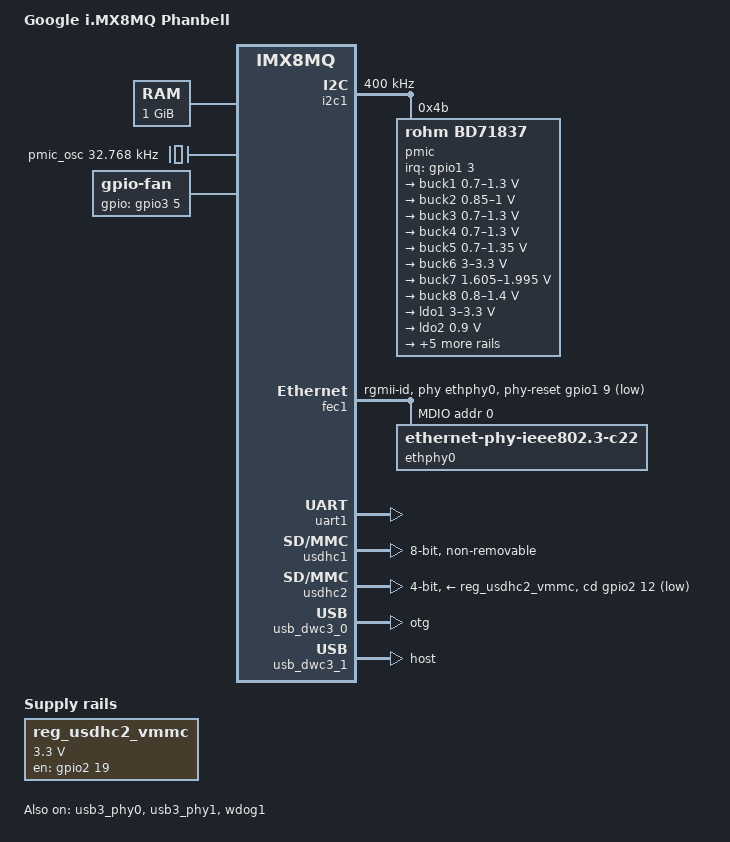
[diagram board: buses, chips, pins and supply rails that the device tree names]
// SPDX-License-Identifier: (GPL-2.0 OR MIT)
/*
 * Copyright 2017-2019 NXP
 */

/dts-v1/;

#include "imx8mq.dtsi"

/ {
	model = "Google i.MX8MQ Phanbell";
	compatible = "google,imx8mq-phanbell", "fsl,imx8mq";

	chosen {
		stdout-path = &uart1;
	};

	memory@40000000 {
		device_type = "memory";
		reg = <0x00000000 0x40000000 0 0x40000000>;
	};

	pmic_osc: clock-pmic {
		compatible = "fixed-clock";
		#clock-cells = <0>;
		clock-frequency = <32768>;
		clock-output-names = "pmic_osc";
	};

	reg_usdhc2_vmmc: regulator-usdhc2-vmmc {
		compatible = "regulator-fixed";
		regulator-name = "VSD_3V3";
		regulator-min-microvolt = <3300000>;
		regulator-max-microvolt = <3300000>;
		gpio = <&gpio2 19 GPIO_ACTIVE_HIGH>;
		enable-active-high;
	};

	fan: gpio-fan {
		compatible = "gpio-fan";
		gpio-fan,speed-map = <0 0 8600 1>;
		gpios = <&gpio3 5 GPIO_ACTIVE_HIGH>;
		#cooling-cells = <2>;
		pinctrl-names = "default";
		pinctrl-0 = <&pinctrl_gpio_fan>;
		status = "okay";
	};
};

&A53_0 {
	cpu-supply = <&buck2>;
};

&A53_1 {
	cpu-supply = <&buck2>;
};

&A53_2 {
	cpu-supply = <&buck2>;
};

&A53_3 {
	cpu-supply = <&buck2>;
};

&cpu_thermal {
	trips {
		cpu_alert0: trip0 {
			temperature = <75000>;
			hysteresis = <2000>;
			type = "passive";
		};

		cpu_alert1: trip1 {
			temperature = <80000>;
			hysteresis = <2000>;
			type = "passive";
		};

		cpu_crit0: trip3 {
			temperature = <90000>;
			hysteresis = <2000>;
			type = "critical";
		};

		fan_toggle0: trip4 {
			temperature = <65000>;
			hysteresis = <10000>;
			type = "active";
		};
	};

	cooling-maps {
		map0 {
			trip = <&cpu_alert0>;
			cooling-device =
			<&A53_0 0 1>; /* Exclude highest OPP */
		};

		map1 {
			trip = <&cpu_alert1>;
			cooling-device =
			<&A53_0 0 2>; /* Exclude two highest OPPs */
		};

		map4 {
			trip = <&fan_toggle0>;
			cooling-device = <&fan 0 1>;
		};
	};
};

&i2c1 {
	clock-frequency = <400000>;
	pinctrl-names = "default";
	pinctrl-0 = <&pinctrl_i2c1>;
	status = "okay";

	pmic: pmic@4b {
		compatible = "rohm,bd71837";
		reg = <0x4b>;
		pinctrl-names = "default";
		pinctrl-0 = <&pinctrl_pmic>;
		#clock-cells = <0>;
		clocks = <&pmic_osc>;
		clock-output-names = "pmic_clk";
		interrupt-parent = <&gpio1>;
		interrupts = <3 GPIO_ACTIVE_LOW>;

		regulators {
			buck1: BUCK1 {
				regulator-name = "buck1";
				regulator-min-microvolt = <700000>;
				regulator-max-microvolt = <1300000>;
				regulator-boot-on;
				regulator-always-on;
				regulator-ramp-delay = <1250>;
				rohm,dvs-run-voltage = <900000>;
				rohm,dvs-idle-voltage = <900000>;
				rohm,dvs-suspend-voltage = <800000>;
			};

			buck2: BUCK2 {
				regulator-name = "buck2";
				regulator-min-microvolt = <850000>;
				regulator-max-microvolt = <1000000>;
				regulator-boot-on;
				regulator-always-on;
				rohm,dvs-run-voltage = <1000000>;
				rohm,dvs-idle-voltage = <900000>;
			};

			buck3: BUCK3 {
				regulator-name = "buck3";
				regulator-min-microvolt = <700000>;
				regulator-max-microvolt = <1300000>;
				regulator-boot-on;
				rohm,dvs-run-voltage = <900000>;
			};

			buck4: BUCK4 {
				regulator-name = "buck4";
				regulator-min-microvolt = <700000>;
				regulator-max-microvolt = <1300000>;
				regulator-boot-on;
				regulator-always-on;
				rohm,dvs-run-voltage = <900000>;
			};

			buck5: BUCK5 {
				regulator-name = "buck5";
				regulator-min-microvolt = <700000>;
				regulator-max-microvolt = <1350000>;
				regulator-boot-on;
				regulator-always-on;
			};

			buck6: BUCK6 {
				regulator-name = "buck6";
				regulator-min-microvolt = <3000000>;
				regulator-max-microvolt = <3300000>;
				regulator-boot-on;
				regulator-always-on;
			};

			buck7: BUCK7 {
				regulator-name = "buck7";
				regulator-min-microvolt = <1605000>;
				regulator-max-microvolt = <1995000>;
				regulator-boot-on;
				regulator-always-on;
			};

			buck8: BUCK8 {
				regulator-name = "buck8";
				regulator-min-microvolt = <800000>;
				regulator-max-microvolt = <1400000>;
				regulator-boot-on;
				regulator-always-on;
			};

			ldo1: LDO1 {
				regulator-name = "ldo1";
				regulator-min-microvolt = <3000000>;
				regulator-max-microvolt = <3300000>;
				regulator-boot-on;
				regulator-always-on;
			};

			ldo2: LDO2 {
				regulator-name = "ldo2";
				regulator-min-microvolt = <900000>;
				regulator-max-microvolt = <900000>;
				regulator-boot-on;
				regulator-always-on;
			};

			ldo3: LDO3 {
				regulator-name = "ldo3";
				regulator-min-microvolt = <1800000>;
				regulator-max-microvolt = <3300000>;
				regulator-boot-on;
				regulator-always-on;
			};

			ldo4: LDO4 {
				regulator-name = "ldo4";
				regulator-min-microvolt = <900000>;
				regulator-max-microvolt = <1800000>;
				regulator-boot-on;
				regulator-always-on;
			};

			ldo5: LDO5 {
				regulator-name = "ldo5";
				regulator-min-microvolt = <1800000>;
				regulator-max-microvolt = <3300000>;
				regulator-boot-on;
				regulator-always-on;
			};

			ldo6: LDO6 {
				regulator-name = "ldo6";
				regulator-min-microvolt = <900000>;
				regulator-max-microvolt = <1800000>;
				regulator-boot-on;
				regulator-always-on;
			};

			ldo7: LDO7 {
				regulator-name = "ldo7";
				regulator-min-microvolt = <1800000>;
				regulator-max-microvolt = <3300000>;
				regulator-boot-on;
				regulator-always-on;
			};
		};
	};
};

&fec1 {
	pinctrl-names = "default";
	pinctrl-0 = <&pinctrl_fec1>;
	phy-mode = "rgmii-id";
	phy-reset-gpios = <&gpio1 9 GPIO_ACTIVE_LOW>;
	phy-reset-duration = <10>;
	phy-reset-post-delay = <50>;
	phy-handle = <&ethphy0>;
	fsl,magic-packet;
	status = "okay";

	mdio {
		#address-cells = <1>;
		#size-cells = <0>;
		ethphy0: ethernet-phy@0 {
			compatible = "ethernet-phy-ieee802.3-c22";
			reg = <0>;
		};
	};
};

&uart1 {
	pinctrl-names = "default";
	pinctrl-0 = <&pinctrl_uart1>;
	status = "okay";
};

&usdhc1 {
	pinctrl-names = "default", "state_100mhz", "state_200mhz";
	pinctrl-0 = <&pinctrl_usdhc1>;
	pinctrl-1 = <&pinctrl_usdhc1_100mhz>;
	pinctrl-2 = <&pinctrl_usdhc1_200mhz>;
	bus-width = <8>;
	non-removable;
	status = "okay";
};

&usdhc2 {
	pinctrl-names = "default", "state_100mhz", "state_200mhz";
	pinctrl-0 = <&pinctrl_usdhc2>, <&pinctrl_usdhc2_gpio>;
	pinctrl-1 = <&pinctrl_usdhc2_100mhz>, <&pinctrl_usdhc2_gpio>;
	pinctrl-2 = <&pinctrl_usdhc2_200mhz>, <&pinctrl_usdhc2_gpio>;
	bus-width = <4>;
	cd-gpios = <&gpio2 12 GPIO_ACTIVE_LOW>;
	vmmc-supply = <&reg_usdhc2_vmmc>;
	status = "okay";
};

&usb3_phy0 {
	status = "okay";
};

&usb_dwc3_0 {
	dr_mode = "otg";
	status = "okay";
};

&usb3_phy1 {
	status = "okay";
};

&usb_dwc3_1 {
	dr_mode = "host";
	status = "okay";
};

&wdog1 {
	pinctrl-names = "default";
	pinctrl-0 = <&pinctrl_wdog>;
	fsl,ext-reset-output;
	status = "okay";
};

&iomuxc {
	pinctrl_fec1: fec1grp {
		fsl,pins = <
			MX8MQ_IOMUXC_ENET_MDC_ENET1_MDC			0x3
			MX8MQ_IOMUXC_ENET_MDIO_ENET1_MDIO		0x23
			MX8MQ_IOMUXC_ENET_TD3_ENET1_RGMII_TD3		0x1f
			MX8MQ_IOMUXC_ENET_TD2_ENET1_RGMII_TD2		0x1f
			MX8MQ_IOMUXC_ENET_TD1_ENET1_RGMII_TD1		0x1f
			MX8MQ_IOMUXC_ENET_TD0_ENET1_RGMII_TD0		0x1f
			MX8MQ_IOMUXC_ENET_RD3_ENET1_RGMII_RD3		0x91
			MX8MQ_IOMUXC_ENET_RD2_ENET1_RGMII_RD2		0x91
			MX8MQ_IOMUXC_ENET_RD1_ENET1_RGMII_RD1		0x91
			MX8MQ_IOMUXC_ENET_RD0_ENET1_RGMII_RD0		0x91
			MX8MQ_IOMUXC_ENET_TXC_ENET1_RGMII_TXC		0x1f
			MX8MQ_IOMUXC_ENET_RXC_ENET1_RGMII_RXC		0x91
			MX8MQ_IOMUXC_ENET_RX_CTL_ENET1_RGMII_RX_CTL	0x91
			MX8MQ_IOMUXC_ENET_TX_CTL_ENET1_RGMII_TX_CTL	0x1f
			MX8MQ_IOMUXC_GPIO1_IO09_GPIO1_IO9		0x19
		>;
	};

	pinctrl_gpio_fan: gpiofangrp {
		fsl,pins = <
			MX8MQ_IOMUXC_NAND_CLE_GPIO3_IO5			0x16
		>;
	};

	pinctrl_i2c1: i2c1grp {
		fsl,pins = <
			MX8MQ_IOMUXC_I2C1_SCL_I2C1_SCL			0x4000007f
			MX8MQ_IOMUXC_I2C1_SDA_I2C1_SDA			0x4000007f
		>;
	};

	pinctrl_pmic: pmicirq {
		fsl,pins = <
			MX8MQ_IOMUXC_GPIO1_IO03_GPIO1_IO3	0x41
		>;
	};

	pinctrl_uart1: uart1grp {
		fsl,pins = <
			MX8MQ_IOMUXC_UART1_RXD_UART1_DCE_RX		0x49
			MX8MQ_IOMUXC_UART1_TXD_UART1_DCE_TX		0x49
		>;
	};

	pinctrl_usdhc1: usdhc1grp {
		fsl,pins = <
			MX8MQ_IOMUXC_SD1_CLK_USDHC1_CLK			0x83
			MX8MQ_IOMUXC_SD1_CMD_USDHC1_CMD			0xc3
			MX8MQ_IOMUXC_SD1_DATA0_USDHC1_DATA0		0xc3
			MX8MQ_IOMUXC_SD1_DATA1_USDHC1_DATA1		0xc3
			MX8MQ_IOMUXC_SD1_DATA2_USDHC1_DATA2		0xc3
			MX8MQ_IOMUXC_SD1_DATA3_USDHC1_DATA3		0xc3
			MX8MQ_IOMUXC_SD1_DATA4_USDHC1_DATA4		0xc3
			MX8MQ_IOMUXC_SD1_DATA5_USDHC1_DATA5		0xc3
			MX8MQ_IOMUXC_SD1_DATA6_USDHC1_DATA6		0xc3
			MX8MQ_IOMUXC_SD1_DATA7_USDHC1_DATA7		0xc3
			MX8MQ_IOMUXC_SD1_STROBE_USDHC1_STROBE		0x83
			MX8MQ_IOMUXC_SD1_RESET_B_USDHC1_RESET_B		0xc1
		>;
	};

	pinctrl_usdhc1_100mhz: usdhc1grp100mhz {
		fsl,pins = <
			MX8MQ_IOMUXC_SD1_CLK_USDHC1_CLK			0x85
			MX8MQ_IOMUXC_SD1_CMD_USDHC1_CMD			0xc5
			MX8MQ_IOMUXC_SD1_DATA0_USDHC1_DATA0		0xc5
			MX8MQ_IOMUXC_SD1_DATA1_USDHC1_DATA1		0xc5
			MX8MQ_IOMUXC_SD1_DATA2_USDHC1_DATA2		0xc5
			MX8MQ_IOMUXC_SD1_DATA3_USDHC1_DATA3		0xc5
			MX8MQ_IOMUXC_SD1_DATA4_USDHC1_DATA4		0xc5
			MX8MQ_IOMUXC_SD1_DATA5_USDHC1_DATA5		0xc5
			MX8MQ_IOMUXC_SD1_DATA6_USDHC1_DATA6		0xc5
			MX8MQ_IOMUXC_SD1_DATA7_USDHC1_DATA7		0xc5
			MX8MQ_IOMUXC_SD1_STROBE_USDHC1_STROBE		0x85
			MX8MQ_IOMUXC_SD1_RESET_B_USDHC1_RESET_B		0xc1
		>;
	};

	pinctrl_usdhc1_200mhz: usdhc1grp200mhz {
		fsl,pins = <
			MX8MQ_IOMUXC_SD1_CLK_USDHC1_CLK			0x87
			MX8MQ_IOMUXC_SD1_CMD_USDHC1_CMD			0xc7
			MX8MQ_IOMUXC_SD1_DATA0_USDHC1_DATA0		0xc7
			MX8MQ_IOMUXC_SD1_DATA1_USDHC1_DATA1		0xc7
			MX8MQ_IOMUXC_SD1_DATA2_USDHC1_DATA2		0xc7
			MX8MQ_IOMUXC_SD1_DATA3_USDHC1_DATA3		0xc7
			MX8MQ_IOMUXC_SD1_DATA4_USDHC1_DATA4		0xc7
			MX8MQ_IOMUXC_SD1_DATA5_USDHC1_DATA5		0xc7
			MX8MQ_IOMUXC_SD1_DATA6_USDHC1_DATA6		0xc7
			MX8MQ_IOMUXC_SD1_DATA7_USDHC1_DATA7		0xc7
			MX8MQ_IOMUXC_SD1_STROBE_USDHC1_STROBE		0x87
			MX8MQ_IOMUXC_SD1_RESET_B_USDHC1_RESET_B		0xc1
		>;
	};

	pinctrl_usdhc2_gpio: usdhc2grpgpio {
		fsl,pins = <
			MX8MQ_IOMUXC_SD2_CD_B_GPIO2_IO12	0x41
			MX8MQ_IOMUXC_SD2_RESET_B_GPIO2_IO19	0x41
		>;
	};

	pinctrl_usdhc2: usdhc2grp {
		fsl,pins = <
			MX8MQ_IOMUXC_SD2_CLK_USDHC2_CLK			0x83
			MX8MQ_IOMUXC_SD2_CMD_USDHC2_CMD			0xc3
			MX8MQ_IOMUXC_SD2_DATA0_USDHC2_DATA0		0xc3
			MX8MQ_IOMUXC_SD2_DATA1_USDHC2_DATA1		0xc3
			MX8MQ_IOMUXC_SD2_DATA2_USDHC2_DATA2		0xc3
			MX8MQ_IOMUXC_SD2_DATA3_USDHC2_DATA3		0xc3
			MX8MQ_IOMUXC_GPIO1_IO04_USDHC2_VSELECT		0xc1
		>;
	};

	pinctrl_usdhc2_100mhz: usdhc2grp100mhz {
		fsl,pins = <
			MX8MQ_IOMUXC_SD2_CLK_USDHC2_CLK			0x85
			MX8MQ_IOMUXC_SD2_CMD_USDHC2_CMD			0xc5
			MX8MQ_IOMUXC_SD2_DATA0_USDHC2_DATA0		0xc5
			MX8MQ_IOMUXC_SD2_DATA1_USDHC2_DATA1		0xc5
			MX8MQ_IOMUXC_SD2_DATA2_USDHC2_DATA2		0xc5
			MX8MQ_IOMUXC_SD2_DATA3_USDHC2_DATA3		0xc5
			MX8MQ_IOMUXC_GPIO1_IO04_USDHC2_VSELECT		0xc1
		>;
	};

	pinctrl_usdhc2_200mhz: usdhc2grp200mhz {
		fsl,pins = <
			MX8MQ_IOMUXC_SD2_CLK_USDHC2_CLK			0x87
			MX8MQ_IOMUXC_SD2_CMD_USDHC2_CMD			0xc7
			MX8MQ_IOMUXC_SD2_DATA0_USDHC2_DATA0		0xc7
			MX8MQ_IOMUXC_SD2_DATA1_USDHC2_DATA1		0xc7
			MX8MQ_IOMUXC_SD2_DATA2_USDHC2_DATA2		0xc7
			MX8MQ_IOMUXC_SD2_DATA3_USDHC2_DATA3		0xc7
			MX8MQ_IOMUXC_GPIO1_IO04_USDHC2_VSELECT		0xc1
		>;
	};

	pinctrl_wdog: wdoggrp {
		fsl,pins = <
			MX8MQ_IOMUXC_GPIO1_IO02_WDOG1_WDOG_B 0xc6
		>;
	};
};
